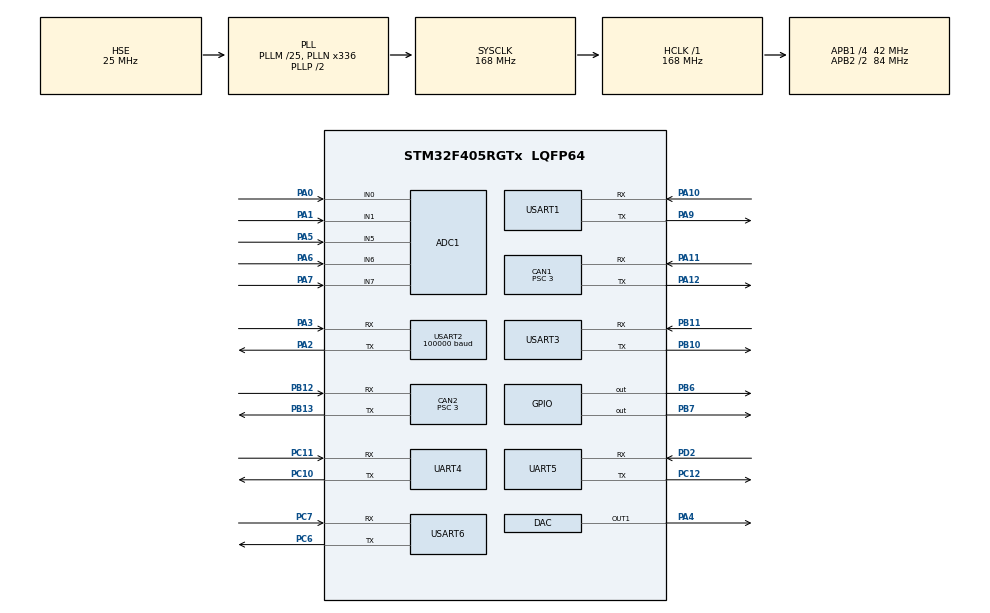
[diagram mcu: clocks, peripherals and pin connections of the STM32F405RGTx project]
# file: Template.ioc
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ADC1.Channel-0\#ChannelRegularConversion=ADC_CHANNEL_0
ADC1.NbrOfConversionFlag=1
ADC1.Rank-0\#ChannelRegularConversion=1
ADC1.SamplingTime-0\#ChannelRegularConversion=ADC_SAMPLETIME_3CYCLES
ADC1.master=1
CAN1.ABOM=ENABLE
CAN1.BS1=CAN_BS1_9TQ
CAN1.BS2=CAN_BS2_4TQ
CAN1.CalculateTimeQuantum=71.42857142857143
CAN1.NART=ENABLE
CAN1.Prescaler=3
CAN2.ABOM=ENABLE
CAN2.BS1=CAN_BS1_9TQ
CAN2.BS2=CAN_BS2_4TQ
CAN2.CalculateTimeQuantum=71.42857142857143
CAN2.NART=ENABLE
CAN2.Prescaler=3
Dma.Request0=UART4_RX
Dma.Request1=UART4_TX
Dma.Request10=USART2_RX
Dma.Request2=UART5_RX
Dma.Request3=UART5_TX
Dma.Request4=USART1_RX
Dma.Request5=USART1_TX
Dma.Request6=USART3_RX
Dma.Request7=USART3_TX
Dma.Request8=USART6_RX
Dma.Request9=USART6_TX
Dma.UART4_RX.0.Direction=DMA_PERIPH_TO_MEMORY
Dma.UART4_RX.0.FIFOMode=DMA_FIFOMODE_DISABLE
Dma.UART4_RX.0.Instance=DMA1_Stream2
Dma.UART4_RX.0.MemDataAlignment=DMA_MDATAALIGN_BYTE
Dma.UART4_RX.0.MemInc=DMA_MINC_ENABLE
Dma.UART4_RX.0.Mode=DMA_NORMAL
Dma.UART4_RX.0.PeriphDataAlignment=DMA_PDATAALIGN_BYTE
Dma.UART4_RX.0.PeriphInc=DMA_PINC_DISABLE
Dma.UART4_RX.0.Priority=DMA_PRIORITY_LOW
Dma.UART4_TX.1.Direction=DMA_MEMORY_TO_PERIPH
Dma.UART4_TX.1.FIFOMode=DMA_FIFOMODE_DISABLE
Dma.UART4_TX.1.Instance=DMA1_Stream4
Dma.UART4_TX.1.MemDataAlignment=DMA_MDATAALIGN_BYTE
Dma.UART4_TX.1.MemInc=DMA_MINC_ENABLE
Dma.UART4_TX.1.Mode=DMA_NORMAL
Dma.UART4_TX.1.PeriphDataAlignment=DMA_PDATAALIGN_BYTE
Dma.UART4_TX.1.PeriphInc=DMA_PINC_DISABLE
Dma.UART4_TX.1.Priority=DMA_PRIORITY_LOW
Dma.UART5_RX.2.Direction=DMA_PERIPH_TO_MEMORY
Dma.UART5_RX.2.FIFOMode=DMA_FIFOMODE_DISABLE
Dma.UART5_RX.2.Instance=DMA1_Stream0
Dma.UART5_RX.2.MemDataAlignment=DMA_MDATAALIGN_BYTE
Dma.UART5_RX.2.MemInc=DMA_MINC_ENABLE
Dma.UART5_RX.2.Mode=DMA_NORMAL
Dma.UART5_RX.2.PeriphDataAlignment=DMA_PDATAALIGN_BYTE
Dma.UART5_RX.2.PeriphInc=DMA_PINC_DISABLE
Dma.UART5_RX.2.Priority=DMA_PRIORITY_LOW
Dma.UART5_TX.3.Direction=DMA_MEMORY_TO_PERIPH
Dma.UART5_TX.3.FIFOMode=DMA_FIFOMODE_DISABLE
Dma.UART5_TX.3.Instance=DMA1_Stream7
Dma.UART5_TX.3.MemDataAlignment=DMA_MDATAALIGN_BYTE
Dma.UART5_TX.3.MemInc=DMA_MINC_ENABLE
Dma.UART5_TX.3.Mode=DMA_NORMAL
Dma.UART5_TX.3.PeriphDataAlignment=DMA_PDATAALIGN_BYTE
Dma.UART5_TX.3.PeriphInc=DMA_PINC_DISABLE
Dma.UART5_TX.3.Priority=DMA_PRIORITY_LOW
Dma.USART1_RX.4.Direction=DMA_PERIPH_TO_MEMORY
Dma.USART1_RX.4.FIFOMode=DMA_FIFOMODE_DISABLE
Dma.USART1_RX.4.Instance=DMA2_Stream2
Dma.USART1_RX.4.MemDataAlignment=DMA_MDATAALIGN_BYTE
Dma.USART1_RX.4.MemInc=DMA_MINC_ENABLE
Dma.USART1_RX.4.Mode=DMA_NORMAL
Dma.USART1_RX.4.PeriphDataAlignment=DMA_PDATAALIGN_BYTE
Dma.USART1_RX.4.PeriphInc=DMA_PINC_DISABLE
Dma.USART1_RX.4.Priority=DMA_PRIORITY_LOW
Dma.USART1_TX.5.Direction=DMA_MEMORY_TO_PERIPH
Dma.USART1_TX.5.FIFOMode=DMA_FIFOMODE_DISABLE
Dma.USART1_TX.5.Instance=DMA2_Stream7
Dma.USART1_TX.5.MemDataAlignment=DMA_MDATAALIGN_BYTE
Dma.USART1_TX.5.MemInc=DMA_MINC_ENABLE
Dma.USART1_TX.5.Mode=DMA_NORMAL
Dma.USART1_TX.5.PeriphDataAlignment=DMA_PDATAALIGN_BYTE
Dma.USART1_TX.5.PeriphInc=DMA_PINC_DISABLE
Dma.USART1_TX.5.Priority=DMA_PRIORITY_LOW
Dma.USART2_RX.10.Direction=DMA_PERIPH_TO_MEMORY
Dma.USART2_RX.10.FIFOMode=DMA_FIFOMODE_DISABLE
Dma.USART2_RX.10.Instance=DMA1_Stream5
Dma.USART2_RX.10.MemDataAlignment=DMA_MDATAALIGN_BYTE
Dma.USART2_RX.10.MemInc=DMA_MINC_ENABLE
Dma.USART2_RX.10.Mode=DMA_NORMAL
Dma.USART2_RX.10.PeriphDataAlignment=DMA_PDATAALIGN_BYTE
Dma.USART2_RX.10.PeriphInc=DMA_PINC_DISABLE
Dma.USART2_RX.10.Priority=DMA_PRIORITY_LOW
Dma.USART3_RX.6.Direction=DMA_PERIPH_TO_MEMORY
Dma.USART3_RX.6.FIFOMode=DMA_FIFOMODE_DISABLE
Dma.USART3_RX.6.Instance=DMA1_Stream1
Dma.USART3_RX.6.MemDataAlignment=DMA_MDATAALIGN_BYTE
Dma.USART3_RX.6.MemInc=DMA_MINC_ENABLE
Dma.USART3_RX.6.Mode=DMA_NORMAL
Dma.USART3_RX.6.PeriphDataAlignment=DMA_PDATAALIGN_BYTE
Dma.USART3_RX.6.PeriphInc=DMA_PINC_DISABLE
Dma.USART3_RX.6.Priority=DMA_PRIORITY_LOW
Dma.USART3_TX.7.Direction=DMA_MEMORY_TO_PERIPH
Dma.USART3_TX.7.FIFOMode=DMA_FIFOMODE_DISABLE
Dma.USART3_TX.7.Instance=DMA1_Stream3
Dma.USART3_TX.7.MemDataAlignment=DMA_MDATAALIGN_BYTE
Dma.USART3_TX.7.MemInc=DMA_MINC_ENABLE
Dma.USART3_TX.7.Mode=DMA_NORMAL
Dma.USART3_TX.7.PeriphDataAlignment=DMA_PDATAALIGN_BYTE
Dma.USART3_TX.7.PeriphInc=DMA_PINC_DISABLE
Dma.USART3_TX.7.Priority=DMA_PRIORITY_LOW
Dma.USART6_RX.8.Direction=DMA_PERIPH_TO_MEMORY
Dma.USART6_RX.8.FIFOMode=DMA_FIFOMODE_DISABLE
Dma.USART6_RX.8.Instance=DMA2_Stream1
Dma.USART6_RX.8.MemDataAlignment=DMA_MDATAALIGN_BYTE
Dma.USART6_RX.8.MemInc=DMA_MINC_ENABLE
Dma.USART6_RX.8.Mode=DMA_CIRCULAR
Dma.USART6_RX.8.PeriphDataAlignment=DMA_PDATAALIGN_BYTE
Dma.USART6_RX.8.PeriphInc=DMA_PINC_DISABLE
Dma.USART6_RX.8.Priority=DMA_PRIORITY_LOW
Dma.USART6_TX.9.Direction=DMA_MEMORY_TO_PERIPH
Dma.USART6_TX.9.FIFOMode=DMA_FIFOMODE_DISABLE
Dma.USART6_TX.9.Instance=DMA2_Stream6
Dma.USART6_TX.9.MemDataAlignment=DMA_MDATAALIGN_BYTE
Dma.USART6_TX.9.MemInc=DMA_MINC_ENABLE
Dma.USART6_TX.9.Mode=DMA_CIRCULAR
Dma.USART6_TX.9.PeriphDataAlignment=DMA_PDATAALIGN_BYTE
Dma.USART6_TX.9.PeriphInc=DMA_PINC_DISABLE
Dma.USART6_TX.9.Priority=DMA_PRIORITY_LOW
FREERTOS.INCLUDE_vTaskDelayUntil=1
FREERTOS.Tasks01=defaultTask,0,128,StartDefaultTask,Default,NULL
Mcu.Family=STM32F4
Mcu.Name=STM32F405RGTx
Mcu.Package=LQFP64
NVIC.CAN1_RX0_IRQn=true\:5\:0\:false\:false\:true\:true\:true\:true
NVIC.CAN1_RX1_IRQn=true\:5\:0\:false\:false\:true\:true\:true\:true
NVIC.CAN2_RX0_IRQn=true\:5\:0\:false\:false\:true\:true\:true\:true
NVIC.CAN2_RX1_IRQn=true\:5\:0\:false\:false\:true\:true\:true\:true
NVIC.DMA1_Stream0_IRQn=true\:5\:0\:false\:false\:true\:true\:false\:true
NVIC.DMA1_Stream1_IRQn=true\:5\:0\:false\:false\:true\:true\:false\:true
NVIC.DMA1_Stream2_IRQn=true\:5\:0\:false\:false\:true\:true\:false\:true
NVIC.DMA1_Stream3_IRQn=true\:5\:0\:false\:false\:true\:true\:false\:true
NVIC.DMA1_Stream4_IRQn=true\:5\:0\:false\:false\:true\:true\:false\:true
NVIC.DMA1_Stream5_IRQn=true\:5\:0\:false\:false\:true\:true\:false\:true
NVIC.DMA1_Stream7_IRQn=true\:5\:0\:false\:false\:true\:true\:false\:true
NVIC.DMA2_Stream1_IRQn=true\:5\:0\:false\:false\:true\:true\:false\:true
NVIC.DMA2_Stream2_IRQn=true\:5\:0\:false\:false\:true\:true\:false\:true
NVIC.DMA2_Stream6_IRQn=true\:5\:0\:false\:false\:true\:true\:false\:true
NVIC.DMA2_Stream7_IRQn=true\:5\:0\:false\:false\:true\:true\:false\:true
NVIC.PriorityGroup=NVIC_PRIORITYGROUP_4
NVIC.TIM4_IRQn=true\:5\:0\:false\:false\:true\:true\:true\:true
NVIC.TIM7_IRQn=true\:0\:0\:false\:false\:true\:false\:false\:true
NVIC.TimeBase=TIM7_IRQn
NVIC.TimeBaseIP=TIM7
NVIC.UART4_IRQn=true\:5\:0\:false\:false\:true\:true\:true\:true
NVIC.UART5_IRQn=true\:5\:0\:false\:false\:true\:true\:true\:true
NVIC.USART1_IRQn=true\:5\:0\:false\:false\:true\:true\:true\:true
NVIC.USART2_IRQn=true\:5\:0\:false\:false\:true\:true\:true\:true
NVIC.USART3_IRQn=true\:5\:0\:false\:false\:true\:true\:true\:true
NVIC.USART6_IRQn=true\:5\:0\:false\:false\:true\:true\:true\:true
PA0-WKUP.Signal=ADCx_IN0
PA1.Signal=ADCx_IN1
PA10.Mode=Asynchronous
PA10.Signal=USART1_RX
PA11.Mode=Master
PA11.Signal=CAN1_RX
PA12.Mode=Master
PA12.Signal=CAN1_TX
PA13.Mode=Serial_Wire
PA13.Signal=SYS_JTMS-SWDIO
PA14.Mode=Serial_Wire
PA14.Signal=SYS_JTCK-SWCLK
PA2.Mode=Asynchronous
PA2.Signal=USART2_TX
PA3.Mode=Asynchronous
PA3.Signal=USART2_RX
PA4.Signal=COMP_DAC1_group
PA5.Signal=ADCx_IN5
PA6.Signal=ADCx_IN6
PA7.Signal=ADCx_IN7
PA9.Mode=Asynchronous
PA9.Signal=USART1_TX
PB10.Mode=Asynchronous
PB10.Signal=USART3_TX
PB11.Mode=Asynchronous
PB11.Signal=USART3_RX
PB12.Mode=Slave
PB12.Signal=CAN2_RX
PB13.Mode=Slave
PB13.Signal=CAN2_TX
PB6.GPIO_ModeDefaultOutputPP=GPIO_MODE_OUTPUT_OD
PB6.GPIO_PuPd=GPIO_PULLUP
PB6.GPIO_Speed=GPIO_SPEED_FREQ_VERY_HIGH
PB6.Signal=GPIO_Output
PB7.GPIO_ModeDefaultOutputPP=GPIO_MODE_OUTPUT_OD
PB7.GPIO_PuPd=GPIO_PULLUP
PB7.GPIO_Speed=GPIO_SPEED_FREQ_VERY_HIGH
PB7.Signal=GPIO_Output
PC10.Mode=Asynchronous
PC10.Signal=UART4_TX
PC11.Mode=Asynchronous
PC11.Signal=UART4_RX
PC12.Mode=Asynchronous
PC12.Signal=UART5_TX
PC6.Mode=Asynchronous
PC6.Signal=USART6_TX
PC7.Mode=Asynchronous
PC7.Signal=USART6_RX
PD2.Mode=Asynchronous
PD2.Signal=UART5_RX
PH0-OSC_IN.Mode=HSE-External-Oscillator
PH0-OSC_IN.Signal=RCC_OSC_IN
PH1-OSC_OUT.Mode=HSE-External-Oscillator
PH1-OSC_OUT.Signal=RCC_OSC_OUT
ProjectManager.HeapSize=0x200
ProjectManager.StackSize=0x400
ProjectManager.TargetToolchain=MDK-ARM V5.27
RCC.48MHZClocksFreq_Value=84000000
RCC.AHBFreq_Value=168000000
RCC.APB1CLKDivider=RCC_HCLK_DIV4
RCC.APB1Freq_Value=42000000
RCC.APB1TimFreq_Value=84000000
RCC.APB2CLKDivider=RCC_HCLK_DIV2
RCC.APB2Freq_Value=84000000
RCC.APB2TimFreq_Value=168000000
RCC.CortexFreq_Value=168000000
RCC.HCLKFreq_Value=168000000
RCC.HSE_VALUE=25000000
RCC.HSI_VALUE=16000000
RCC.LSE_VALUE=32768
RCC.PLLM=25
RCC.PLLN=336
RCC.PLLSourceVirtual=RCC_PLLSOURCE_HSE
RCC.SYSCLKFreq_VALUE=168000000
RCC.SYSCLKSource=RCC_SYSCLKSOURCE_PLLCLK
RCC.VCOOutputFreq_Value=336000000
SH.ADCx_IN0.0=ADC1_IN0,IN0
SH.ADCx_IN1.0=ADC1_IN1,IN1
SH.ADCx_IN5.0=ADC1_IN5,IN5
SH.ADCx_IN6.0=ADC1_IN6,IN6
SH.ADCx_IN7.0=ADC1_IN7,IN7
SH.COMP_DAC1_group.0=DAC_OUT1,DAC_OUT1
TIM4.Period=65535
TIM4.Prescaler=83
UART4.VirtualMode=Asynchronous
UART5.VirtualMode=Asynchronous
USART1.VirtualMode=VM_ASYNC
USART2.BaudRate=100000
USART2.Mode=MODE_RX
USART2.Parity=PARITY_EVEN
USART2.VirtualMode=VM_ASYNC
USART2.WordLength=WORDLENGTH_9B
USART3.VirtualMode=VM_ASYNC
USART6.VirtualMode=VM_ASYNC
VP_FREERTOS_VS_CMSIS_V1.Mode=CMSIS_V1
VP_SYS_VS_tim7.Mode=TIM7
VP_TIM4_VS_ClockSourceINT.Mode=Internal
board=custom

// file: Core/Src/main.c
/* USER CODE BEGIN Header */
/**
  ******************************************************************************
  * @file           : main.c
  * @brief          : Main program body
  ******************************************************************************
  * @attention
  *
  * <h2><center>&copy; Copyright (c) 2019 STMicroelectronics.
  * All rights reserved.</center></h2>
  *
  * This software component is licensed by ST under Ultimate Liberty license
  * SLA0044, the "License"; You may not use this file except in compliance with
  * the License. You may obtain a copy of the License at:
  *                             www.st.com/SLA0044
  *
  ******************************************************************************
  */
/* USER CODE END Header */

#include "main.h"
#include "cmsis_os.h"

/* USER CODE BEGIN Includes */
#include "System_Config.h"
#include "Drivers/Components/drv_timer.h"
/* USER CODE END Includes */

ADC_HandleTypeDef hadc1;

CAN_HandleTypeDef hcan1;
CAN_HandleTypeDef hcan2;

DAC_HandleTypeDef hdac;

TIM_HandleTypeDef htim4;

UART_HandleTypeDef huart4;
UART_HandleTypeDef huart5;
UART_HandleTypeDef huart1;
UART_HandleTypeDef huart2;
UART_HandleTypeDef huart3;
UART_HandleTypeDef huart6;
DMA_HandleTypeDef hdma_uart4_rx;
DMA_HandleTypeDef hdma_uart4_tx;
DMA_HandleTypeDef hdma_uart5_rx;
DMA_HandleTypeDef hdma_uart5_tx;
DMA_HandleTypeDef hdma_usart1_rx;
DMA_HandleTypeDef hdma_usart1_tx;
DMA_HandleTypeDef hdma_usart2_rx;
DMA_HandleTypeDef hdma_usart3_rx;
DMA_HandleTypeDef hdma_usart3_tx;
DMA_HandleTypeDef hdma_usart6_rx;
DMA_HandleTypeDef hdma_usart6_tx;

osThreadId defaultTaskHandle;
/* USER CODE BEGIN PV */
ADC_HandleTypeDef hadc1;
DMA_HandleTypeDef hdma_adc1;
DAC_HandleTypeDef hdac;
DMA_HandleTypeDef hdma_dac1;
/* USER CODE END PV */

void SystemClock_Config(void);
static void MX_GPIO_Init(void);
static void MX_DMA_Init(void);
static void MX_CAN1_Init(void);
static void MX_CAN2_Init(void);
static void MX_TIM4_Init(void);
static void MX_UART4_Init(void);
static void MX_UART5_Init(void);
static void MX_USART1_UART_Init(void);
static void MX_USART2_UART_Init(void);
static void MX_USART3_UART_Init(void);
static void MX_USART6_UART_Init(void);
static void MX_ADC1_Init(void);
static void MX_DAC_Init(void);
void StartDefaultTask(void const * argument);

int main(void)
{

  /* MCU Configuration--------------------------------------------------------*/

  /* Reset of all peripherals, Initializes the Flash interface and the Systick. */
  HAL_Init();

  /* Configure the system clock */
  SystemClock_Config();

  /* Initialize all configured peripherals */
  MX_GPIO_Init();
  MX_DMA_Init();
  MX_CAN1_Init();
  MX_CAN2_Init();
  MX_TIM4_Init();
  MX_UART4_Init();
  MX_UART5_Init();
  MX_USART1_UART_Init();
  MX_USART2_UART_Init();
  MX_USART3_UART_Init();
  MX_USART6_UART_Init();
  MX_ADC1_Init();
  MX_DAC_Init();
  /* USER CODE BEGIN 2 */

  System_Resource_Init();
	HAL_GPIO_WritePin(GPIOB, GPIO_PIN_0, GPIO_PIN_RESET);
	HAL_Delay(1);

	HAL_GPIO_WritePin(GPIOC, GPIO_PIN_2, GPIO_PIN_RESET);
	HAL_Delay(1);

	HAL_GPIO_WritePin(GPIOC, GPIO_PIN_1, GPIO_PIN_SET);
	HAL_Delay(1);

	HAL_GPIO_WritePin(GPIOC, GPIO_PIN_3, GPIO_PIN_RESET);
	HAL_Delay(1);

	HAL_GPIO_WritePin(GPIOC, GPIO_PIN_0, GPIO_PIN_SET);
	HAL_Delay(1);

	HAL_GPIO_WritePin(GPIOC, GPIO_PIN_4, GPIO_PIN_RESET);
	HAL_Delay(1);
  /* USER CODE END 2 */

  /* Create the thread(s) */
  /* definition and creation of defaultTask */
  osThreadDef(defaultTask, StartDefaultTask, osPriorityNormal, 0, 128);
  defaultTaskHandle = osThreadCreate(osThread(defaultTask), NULL);

  /* Start scheduler */
  osKernelStart();

  /* We should never get here as control is now taken by the scheduler */

  /* Infinite loop */
  while (1)
  {

  }
}

void SystemClock_Config(void)
{
  RCC_OscInitTypeDef RCC_OscInitStruct = {0};
  RCC_ClkInitTypeDef RCC_ClkInitStruct = {0};

  /** Configure the main internal regulator output voltage
  */
  __HAL_RCC_PWR_CLK_ENABLE();
  __HAL_PWR_VOLTAGESCALING_CONFIG(PWR_REGULATOR_VOLTAGE_SCALE1);
  /** Initializes the CPU, AHB and APB busses clocks
  */
  RCC_OscInitStruct.OscillatorType = RCC_OSCILLATORTYPE_HSE;
  RCC_OscInitStruct.HSEState = RCC_HSE_ON;
  RCC_OscInitStruct.PLL.PLLState = RCC_PLL_ON;
  RCC_OscInitStruct.PLL.PLLSource = RCC_PLLSOURCE_HSE;
  RCC_OscInitStruct.PLL.PLLM = 25;
  RCC_OscInitStruct.PLL.PLLN = 336;
  RCC_OscInitStruct.PLL.PLLP = RCC_PLLP_DIV2;
  RCC_OscInitStruct.PLL.PLLQ = 4;
  if (HAL_RCC_OscConfig(&RCC_OscInitStruct) != HAL_OK)
  {
    Error_Handler();
  }
  /** Initializes the CPU, AHB and APB busses clocks
  */
  RCC_ClkInitStruct.ClockType = RCC_CLOCKTYPE_HCLK|RCC_CLOCKTYPE_SYSCLK
                              |RCC_CLOCKTYPE_PCLK1|RCC_CLOCKTYPE_PCLK2;
  RCC_ClkInitStruct.SYSCLKSource = RCC_SYSCLKSOURCE_PLLCLK;
  RCC_ClkInitStruct.AHBCLKDivider = RCC_SYSCLK_DIV1;
  RCC_ClkInitStruct.APB1CLKDivider = RCC_HCLK_DIV4;
  RCC_ClkInitStruct.APB2CLKDivider = RCC_HCLK_DIV2;

  if (HAL_RCC_ClockConfig(&RCC_ClkInitStruct, FLASH_LATENCY_5) != HAL_OK)
  {
    Error_Handler();
  }
}

static void MX_ADC1_Init(void)
{

  ADC_ChannelConfTypeDef sConfig = {0};

  /** Configure the global features of the ADC (Clock, Resolution, Data Alignment and number of conversion)
  */
  hadc1.Instance = ADC1;
  hadc1.Init.ClockPrescaler = ADC_CLOCK_SYNC_PCLK_DIV4;
  hadc1.Init.Resolution = ADC_RESOLUTION_12B;
  hadc1.Init.ScanConvMode = DISABLE;
  hadc1.Init.ContinuousConvMode = DISABLE;
  hadc1.Init.DiscontinuousConvMode = DISABLE;
  hadc1.Init.ExternalTrigConvEdge = ADC_EXTERNALTRIGCONVEDGE_NONE;
  hadc1.Init.ExternalTrigConv = ADC_SOFTWARE_START;
  hadc1.Init.DataAlign = ADC_DATAALIGN_RIGHT;
  hadc1.Init.NbrOfConversion = 1;
  hadc1.Init.DMAContinuousRequests = DISABLE;
  hadc1.Init.EOCSelection = ADC_EOC_SINGLE_CONV;
  if (HAL_ADC_Init(&hadc1) != HAL_OK)
  {
    Error_Handler();
  }
  /** Configure for the selected ADC regular channel its corresponding rank in the sequencer and its sample time.
  */
  sConfig.Channel = ADC_CHANNEL_0;
  sConfig.Rank = 1;
  sConfig.SamplingTime = ADC_SAMPLETIME_3CYCLES;
  if (HAL_ADC_ConfigChannel(&hadc1, &sConfig) != HAL_OK)
  {
    Error_Handler();
  }

}

static void MX_CAN1_Init(void)
{

  hcan1.Instance = CAN1;
  hcan1.Init.Prescaler = 3;
  hcan1.Init.Mode = CAN_MODE_NORMAL;
  hcan1.Init.SyncJumpWidth = CAN_SJW_1TQ;
  hcan1.Init.TimeSeg1 = CAN_BS1_9TQ;
  hcan1.Init.TimeSeg2 = CAN_BS2_4TQ;
  hcan1.Init.TimeTriggeredMode = DISABLE;
  hcan1.Init.AutoBusOff = ENABLE;
  hcan1.Init.AutoWakeUp = DISABLE;
  hcan1.Init.AutoRetransmission = ENABLE;
  hcan1.Init.ReceiveFifoLocked = DISABLE;
  hcan1.Init.TransmitFifoPriority = DISABLE;
  if (HAL_CAN_Init(&hcan1) != HAL_OK)
  {
    Error_Handler();
  }

}

static void MX_CAN2_Init(void)
{

  hcan2.Instance = CAN2;
  hcan2.Init.Prescaler = 3;
  hcan2.Init.Mode = CAN_MODE_NORMAL;
  hcan2.Init.SyncJumpWidth = CAN_SJW_1TQ;
  hcan2.Init.TimeSeg1 = CAN_BS1_9TQ;
  hcan2.Init.TimeSeg2 = CAN_BS2_4TQ;
  hcan2.Init.TimeTriggeredMode = DISABLE;
  hcan2.Init.AutoBusOff = ENABLE;
  hcan2.Init.AutoWakeUp = DISABLE;
  hcan2.Init.AutoRetransmission = ENABLE;
  hcan2.Init.ReceiveFifoLocked = DISABLE;
  hcan2.Init.TransmitFifoPriority = DISABLE;
  if (HAL_CAN_Init(&hcan2) != HAL_OK)
  {
    Error_Handler();
  }

}

static void MX_DAC_Init(void)
{

  DAC_ChannelConfTypeDef sConfig = {0};

  /** DAC Initialization
  */
  hdac.Instance = DAC;
  if (HAL_DAC_Init(&hdac) != HAL_OK)
  {
    Error_Handler();
  }
  /** DAC channel OUT1 config
  */
  sConfig.DAC_Trigger = DAC_TRIGGER_NONE;
  sConfig.DAC_OutputBuffer = DAC_OUTPUTBUFFER_ENABLE;
  if (HAL_DAC_ConfigChannel(&hdac, &sConfig, DAC_CHANNEL_1) != HAL_OK)
  {
    Error_Handler();
  }

}

static void MX_TIM4_Init(void)
{

  TIM_ClockConfigTypeDef sClockSourceConfig = {0};
  TIM_MasterConfigTypeDef sMasterConfig = {0};

  htim4.Instance = TIM4;
  htim4.Init.Prescaler = 83;
  htim4.Init.CounterMode = TIM_COUNTERMODE_UP;
  htim4.Init.Period = 65535;
  htim4.Init.ClockDivision = TIM_CLOCKDIVISION_DIV1;
  htim4.Init.AutoReloadPreload = TIM_AUTORELOAD_PRELOAD_DISABLE;
  if (HAL_TIM_Base_Init(&htim4) != HAL_OK)
  {
    Error_Handler();
  }
  sClockSourceConfig.ClockSource = TIM_CLOCKSOURCE_INTERNAL;
  if (HAL_TIM_ConfigClockSource(&htim4, &sClockSourceConfig) != HAL_OK)
  {
    Error_Handler();
  }
  sMasterConfig.MasterOutputTrigger = TIM_TRGO_RESET;
  sMasterConfig.MasterSlaveMode = TIM_MASTERSLAVEMODE_DISABLE;
  if (HAL_TIMEx_MasterConfigSynchronization(&htim4, &sMasterConfig) != HAL_OK)
  {
    Error_Handler();
  }

}

static void MX_UART4_Init(void)
{

  huart4.Instance = UART4;
  huart4.Init.BaudRate = 115200;
  huart4.Init.WordLength = UART_WORDLENGTH_8B;
  huart4.Init.StopBits = UART_STOPBITS_1;
  huart4.Init.Parity = UART_PARITY_NONE;
  huart4.Init.Mode = UART_MODE_TX_RX;
  huart4.Init.HwFlowCtl = UART_HWCONTROL_NONE;
  huart4.Init.OverSampling = UART_OVERSAMPLING_16;
  if (HAL_UART_Init(&huart4) != HAL_OK)
  {
    Error_Handler();
  }

}

static void MX_UART5_Init(void)
{

  huart5.Instance = UART5;
  huart5.Init.BaudRate = 115200;
  huart5.Init.WordLength = UART_WORDLENGTH_8B;
  huart5.Init.StopBits = UART_STOPBITS_1;
  huart5.Init.Parity = UART_PARITY_NONE;
  huart5.Init.Mode = UART_MODE_TX_RX;
  huart5.Init.HwFlowCtl = UART_HWCONTROL_NONE;
  huart5.Init.OverSampling = UART_OVERSAMPLING_16;
  if (HAL_UART_Init(&huart5) != HAL_OK)
  {
    Error_Handler();
  }

}

static void MX_USART1_UART_Init(void)
{

  huart1.Instance = USART1;
  huart1.Init.BaudRate = 115200;
  huart1.Init.WordLength = UART_WORDLENGTH_8B;
  huart1.Init.StopBits = UART_STOPBITS_1;
  huart1.Init.Parity = UART_PARITY_NONE;
  huart1.Init.Mode = UART_MODE_TX_RX;
  huart1.Init.HwFlowCtl = UART_HWCONTROL_NONE;
  huart1.Init.OverSampling = UART_OVERSAMPLING_16;
  if (HAL_UART_Init(&huart1) != HAL_OK)
  {
    Error_Handler();
  }

}

static void MX_USART2_UART_Init(void)
{

  huart2.Instance = USART2;
  huart2.Init.BaudRate = 100000;
  huart2.Init.WordLength = UART_WORDLENGTH_9B;
  huart2.Init.StopBits = UART_STOPBITS_1;
  huart2.Init.Parity = UART_PARITY_EVEN;
  huart2.Init.Mode = UART_MODE_RX;
  huart2.Init.HwFlowCtl = UART_HWCONTROL_NONE;
  huart2.Init.OverSampling = UART_OVERSAMPLING_16;
  if (HAL_UART_Init(&huart2) != HAL_OK)
  {
    Error_Handler();
  }

}

static void MX_USART3_UART_Init(void)
{

  huart3.Instance = USART3;
  huart3.Init.BaudRate = 115200;
  huart3.Init.WordLength = UART_WORDLENGTH_8B;
  huart3.Init.StopBits = UART_STOPBITS_1;
  huart3.Init.Parity = UART_PARITY_NONE;
  huart3.Init.Mode = UART_MODE_TX_RX;
  huart3.Init.HwFlowCtl = UART_HWCONTROL_NONE;
  huart3.Init.OverSampling = UART_OVERSAMPLING_16;
  if (HAL_UART_Init(&huart3) != HAL_OK)
  {
    Error_Handler();
  }

}

static void MX_USART6_UART_Init(void)
{

  huart6.Instance = USART6;
  huart6.Init.BaudRate = 115200;
  huart6.Init.WordLength = UART_WORDLENGTH_8B;
  huart6.Init.StopBits = UART_STOPBITS_1;
  huart6.Init.Parity = UART_PARITY_NONE;
  huart6.Init.Mode = UART_MODE_TX_RX;
  huart6.Init.HwFlowCtl = UART_HWCONTROL_NONE;
  huart6.Init.OverSampling = UART_OVERSAMPLING_16;
  if (HAL_UART_Init(&huart6) != HAL_OK)
  {
    Error_Handler();
  }

}

static void MX_DMA_Init(void)
{

  /* DMA controller clock enable */
  __HAL_RCC_DMA1_CLK_ENABLE();
  __HAL_RCC_DMA2_CLK_ENABLE();

  /* DMA interrupt init */
  /* DMA1_Stream0_IRQn interrupt configuration */
  HAL_NVIC_SetPriority(DMA1_Stream0_IRQn, 5, 0);
  HAL_NVIC_EnableIRQ(DMA1_Stream0_IRQn);
  /* DMA1_Stream1_IRQn interrupt configuration */
  HAL_NVIC_SetPriority(DMA1_Stream1_IRQn, 5, 0);
  HAL_NVIC_EnableIRQ(DMA1_Stream1_IRQn);
  /* DMA1_Stream2_IRQn interrupt configuration */
  HAL_NVIC_SetPriority(DMA1_Stream2_IRQn, 5, 0);
  HAL_NVIC_EnableIRQ(DMA1_Stream2_IRQn);
  /* DMA1_Stream3_IRQn interrupt configuration */
  HAL_NVIC_SetPriority(DMA1_Stream3_IRQn, 5, 0);
  HAL_NVIC_EnableIRQ(DMA1_Stream3_IRQn);
  /* DMA1_Stream4_IRQn interrupt configuration */
  HAL_NVIC_SetPriority(DMA1_Stream4_IRQn, 5, 0);
  HAL_NVIC_EnableIRQ(DMA1_Stream4_IRQn);
  /* DMA1_Stream5_IRQn interrupt configuration */
  HAL_NVIC_SetPriority(DMA1_Stream5_IRQn, 5, 0);
  HAL_NVIC_EnableIRQ(DMA1_Stream5_IRQn);
  /* DMA1_Stream7_IRQn interrupt configuration */
  HAL_NVIC_SetPriority(DMA1_Stream7_IRQn, 5, 0);
  HAL_NVIC_EnableIRQ(DMA1_Stream7_IRQn);
  /* DMA2_Stream1_IRQn interrupt configuration */
  HAL_NVIC_SetPriority(DMA2_Stream1_IRQn, 5, 0);
  HAL_NVIC_EnableIRQ(DMA2_Stream1_IRQn);
  /* DMA2_Stream2_IRQn interrupt configuration */
  HAL_NVIC_SetPriority(DMA2_Stream2_IRQn, 5, 0);
  HAL_NVIC_EnableIRQ(DMA2_Stream2_IRQn);
  /* DMA2_Stream6_IRQn interrupt configuration */
  HAL_NVIC_SetPriority(DMA2_Stream6_IRQn, 5, 0);
  HAL_NVIC_EnableIRQ(DMA2_Stream6_IRQn);
  /* DMA2_Stream7_IRQn interrupt configuration */
  HAL_NVIC_SetPriority(DMA2_Stream7_IRQn, 5, 0);
  HAL_NVIC_EnableIRQ(DMA2_Stream7_IRQn);

}

static void MX_GPIO_Init(void)
{
  GPIO_InitTypeDef GPIO_InitStruct = {0};

  /* GPIO Ports Clock Enable */
  __HAL_RCC_GPIOH_CLK_ENABLE();
  __HAL_RCC_GPIOA_CLK_ENABLE();
  __HAL_RCC_GPIOB_CLK_ENABLE();
  __HAL_RCC_GPIOC_CLK_ENABLE();
  __HAL_RCC_GPIOD_CLK_ENABLE();

  /*Configure GPIO pin Output Level */
  HAL_GPIO_WritePin(GPIOB, GPIO_PIN_6|GPIO_PIN_7, GPIO_PIN_RESET);

  /*Configure GPIO pins : PB6 PB7 */
  GPIO_InitStruct.Pin = GPIO_PIN_6|GPIO_PIN_7;
  GPIO_InitStruct.Mode = GPIO_MODE_OUTPUT_OD;
  GPIO_InitStruct.Pull = GPIO_PULLUP;
  GPIO_InitStruct.Speed = GPIO_SPEED_FREQ_VERY_HIGH;
  HAL_GPIO_Init(GPIOB, &GPIO_InitStruct);

}

void StartDefaultTask(void const * argument)
{
  /* USER CODE BEGIN 5 */

  /* Infinite loop */
  for(;;)
  {
    System_Tasks_Init();
    /* Delete the default task. */
    osThreadTerminate (defaultTaskHandle);
  }
  /* USER CODE END 5 */
}

void HAL_TIM_PeriodElapsedCallback(TIM_HandleTypeDef *htim)
{
  /* USER CODE BEGIN Callback 0 */
  if (htim->Instance == TIM4) {
    Update_SystemTick();
  }
  /* USER CODE END Callback 0 */
  if (htim->Instance == TIM7) {
    HAL_IncTick();
  }
}

void Error_Handler(void)
{
}

/************************ (C) COPYRIGHT STMicroelectronics *****END OF FILE****/
